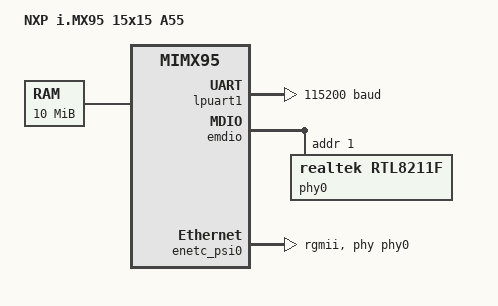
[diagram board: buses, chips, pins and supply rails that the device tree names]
/*
 * Copyright 2025 NXP
 *
 * SPDX-License-Identifier: Apache-2.0
 */

/dts-v1/;

#include <nxp/nxp_mimx95_15x15_a55.dtsi>
#include "imx95_evk_15x15-pinctrl.dtsi"

/ {
	model = "NXP i.MX95 15x15 A55";
	compatible = "fsl,mimx95";

	chosen {
		zephyr,console = &lpuart1;
		zephyr,shell-uart = &lpuart1;
		/* sram node actually locates at DDR DRAM */
		zephyr,sram = &dram;
	};

	cpus {
		cpu@0 {
			status = "disabled";
		};

		cpu@100 {
			status = "disabled";
		};

		cpu@200 {
			status = "disabled";
		};

		cpu@300 {
			status = "disabled";
		};

		cpu@400 {
			status = "disabled";
		};
	};

	dram: memory@d0000000 {
		reg = <0xd0000000 DT_SIZE_M(10)>;
	};
};

&lpuart1 {
	status = "okay";
	current-speed = <115200>;
	pinctrl-0 = <&lpuart1_default>;
	pinctrl-names = "default";
};

&emdio {
	pinctrl-0 = <&emdio_default>;
	pinctrl-names = "default";
	status = "okay";

	phy0: phy@1 {
		compatible = "realtek,rtl8211f";
		reg = <0x1>;
		status = "okay";
	};
};

&enetc_psi0 {
	local-mac-address = [00 00 00 01 02 00];
	pinctrl-0 = <&eth0_default>;
	pinctrl-names = "default";
	phy-handle = <&phy0>;
	phy-connection-type = "rgmii";
	status = "okay";
};
